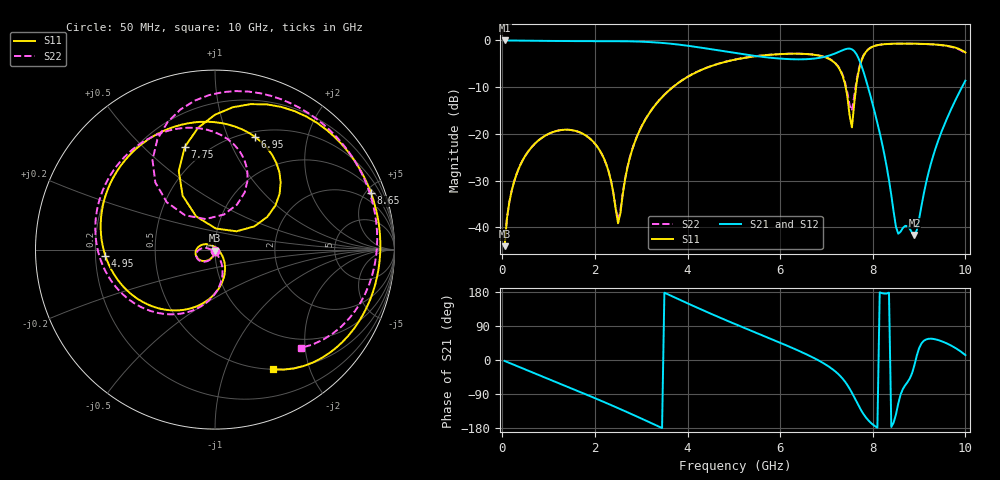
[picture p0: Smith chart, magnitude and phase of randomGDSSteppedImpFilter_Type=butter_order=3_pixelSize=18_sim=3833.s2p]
! freq	dB(S11)	phase(S11)	dB(S12)	phase(S12)
!  dB(S21)	phase(S21)	dB(S22)	phase(S22)
!S-par simulation data
#  GHz  S  DB  R 50
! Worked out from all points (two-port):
!   200 points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, 50 MHz to 10 GHz, reference 50 ohm
!   highest |S21| = 0.00 dB at 50 MHz (marker M1); lowest = -41.6 dB at 8.9 GHz (marker M2)
!   |S21| within 3 dB of the highest: start of sweep to 5.231 GHz; 7.128 GHz to 7.651 GHz (522.7 MHz wide, 7.07 % of centre)
!   lowest |S11| = -44.0 dB at 50 MHz (marker M3), VSWR 1.01, Z = 50 - j0.63 ohm
!   |S11| at or under -10 dB: start of sweep to 3.682 GHz; 7.413 GHz to 7.64 GHz (226.4 MHz wide, 3.01 % of centre)
!   |S22| runs from -44.0 to -0.7 dB; largest |S21 - S12| = 0
!   S11 on the Smith chart (normalised r, x): 50 MHz: 1.00, -0.01; 4.95 GHz: 0.24, -0.03; 6.95 GHz: 0.56, +1.26; 7.75 GHz: 0.38, +0.68; 8.65 GHz: 1.25, +5.43; 10 GHz: 0.50, -1.48
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0.05  -44.01 -91.5  -0.00 -2.6  -0.00 -2.6  -44.00 -91.2
0.2  -32.27 -99.9  -0.02 -10.1  -0.02 -10.1  -32.25 -99.1
0.55  -23.88 -119.3  -0.05 -27.7  -0.05 -27.7  -23.88 -117.0
1.75  -20.02 176.0  -0.14 -87.9  -0.14 -87.9  -20.03 -173.4
2.25  -26.62 141.5  -0.14 -113.7  -0.14 -113.7  -26.64 170.1
2.5  -39.11 58.2  -0.15 -126.9  -0.15 -126.9  -38.46 -131.4
2.85  -22.07 -50.3  -0.21 -146.0  -0.21 -146.0  -21.98 -64.2
3.4  -12.67 -87.5  -0.49 -176.7  -0.49 -176.7  -12.63 -88.0
4.95  -4.26 -176.8  -2.58 98.8  -2.58 98.8  -4.24 -166.3
5.05  -4.05 177.8  -2.73 93.6  -2.73 93.6  -4.03 -171.1
6.7  -3.02 87.2  -3.91 7.1  -3.91 7.1  -3.00 108.6
6.95  -3.52 70.5  -3.52 -9.5  -3.52 -9.5  -3.49 93.7
7.35  -7.60 36.1  -2.09 -49.3  -2.09 -49.3  -7.37 64.8
7.55  -18.60 87.7  -1.89 -86.5  -1.89 -86.5  -15.00 107.0
7.75  -4.50 106.4  -5.24 -133.0  -5.24 -133.0  -4.31 124.9
7.95  -1.58 76.3  -11.86 -165.0  -11.86 -165.0  -1.54 97.8
8.35  -0.74 39.7  -29.87 177.7  -29.87 177.7  -0.75 62.8
8.5  -0.69 29.4  -39.83 -143.9  -39.83 -143.9  -0.70 52.6
8.65  -0.68 19.9  -40.11 -76.5  -40.11 -76.5  -0.69 43.1
8.9  -0.70 5.0  -41.60 -13.3  -41.60 -13.3  -0.71 27.9
9.5  -1.01 -29.7  -19.15 48.9  -19.15 48.9  -1.04 -9.3
10  -2.59 -64.0  -8.60 13.0  -8.60 13.0  -2.75 -48.8
